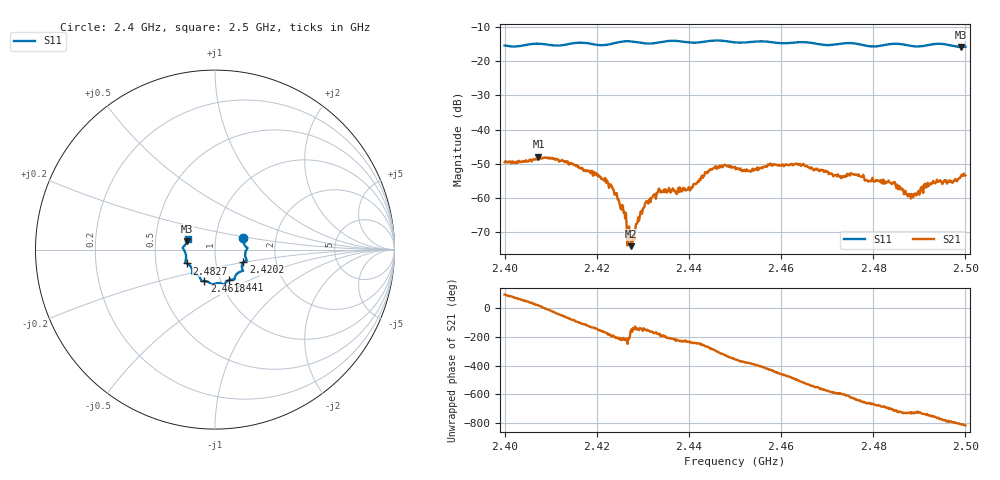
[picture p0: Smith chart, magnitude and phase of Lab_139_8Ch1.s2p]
# Hz S RI R 50
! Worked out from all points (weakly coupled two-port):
!   601 points, 2.4 GHz to 2.5 GHz, reference 50 ohm
!   highest |S21| = -47.92 dB at 2.4073 GHz (marker M1); lowest = -74.1 dB at 2.4275 GHz (marker M2)
!   lowest |S11| = -15.8 dB at 2.499 GHz (marker M3), VSWR 1.39, Z = 36.4 + j3.48 ohm
!   |S11| at or under -10 dB: start of sweep to end of sweep
!   S12 and S22 are empty: the file has one direction only
!   S11 on the Smith chart (normalised r, x): 2.4 GHz: 1.36, +0.18; 2.4202 GHz: 1.36, -0.20; 2.441 GHz: 1.10, -0.39; 2.4618 GHz: 0.84, -0.30; 2.4827 GHz: 0.72, -0.12; 2.5 GHz: 0.73, +0.09
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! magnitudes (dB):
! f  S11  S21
! 2.4 GHz  -15.4  -49.5
! 2.4073 GHz  -14.8  -47.9
! 2.4167 GHz  -14.5  -51.4
! 2.4202 GHz  -15.2  -53.6
! 2.4238 GHz  -14.7  -59.0
! 2.4258 GHz  -14.2  -64.3
! 2.427 GHz  -14.1  -68.3
! 2.4275 GHz  -14.2  -74.1
! 2.4278 GHz  -14.2  -72.6
! 2.4305 GHz  -14.8  -61.5
! 2.4333 GHz  -14.5  -57.8
! 2.441 GHz  -14.6  -55.9
! 2.4453 GHz  -13.9  -51.4
! 2.45 GHz  -14.5  -50.9
! 2.4618 GHz  -14.6  -50.3
! 2.4667 GHz  -14.6  -51.2
! 2.4827 GHz  -15.2  -55.7
! 2.4833 GHz  -15.0  -54.9
! 2.4883 GHz  -15.5  -58.8
! 2.4928 GHz  -15.0  -55.6
! 2.499 GHz  -15.8  -53.6
! 2.5 GHz  -15.7  -53.4
